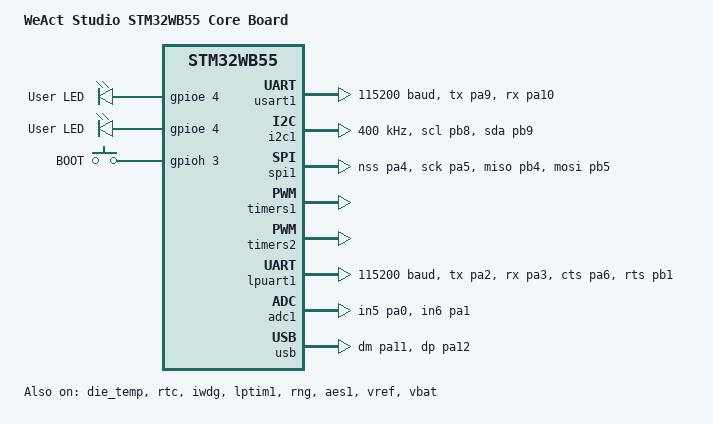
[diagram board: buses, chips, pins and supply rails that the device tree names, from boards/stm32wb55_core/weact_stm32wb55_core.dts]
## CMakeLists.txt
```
cmake_minimum_required(VERSION 3.20.0)
list(APPEND BOARD_ROOT ${CMAKE_CURRENT_SOURCE_DIR})
find_package(Zephyr REQUIRED)
project(my_zephyr_app)
add_subdirectory(drivers/custom_led)
target_sources(app PRIVATE src/main.c)
```

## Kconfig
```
menuconfig LED_SUBSYSTEM
  bool "LED Subsystem"
  default y

if LED_SUBSYSTEM

choice
  prompt "LED blink sleep time"
  default BLINK_SLEEP_1000MS

config BLINK_SLEEP_250MS
  bool "250ms (very fast)"

config BLINK_SLEEP_500MS
  bool "500ms (fast)"

config BLINK_SLEEP_1000MS
  bool "1s (medium)"

config BLINK_SLEEP_2000MS
  bool "2s (slow)"

endchoice


config BLINK_SLEEP_TIME_MS
  int # No prompt hidden
  default 250 if BLINK_SLEEP_250MS
  default 500 if BLINK_SLEEP_500MS
  default 1000 if BLINK_SLEEP_1000MS
  default 2000 if BLINK_SLEEP_2000MS
  default 0

menuconfig ADVANCED_LED_SETTINGS
  bool "Advanced LED settings"
  default y

config LED_BRIGHTNESS
  int "LED brightness (0-100)"
  range 0 100
  default 100
  depends on ADVANCED_LED_SETTINGS

config LED_FADE_DURATION_MS
  int "LED fade duration (ms)"
  range 0 5000
  default 500
  depends on ADVANCED_LED_SETTINGS

menu "Expert settings"
  visible if ADVANCED_LED_SETTINGS

config LED_DEBUG
  bool "Enable LED debugging"
  depends on ADVANCED_LED_SETTINGS

config CUSTOM_BLINK
  bool "Custom blink pattern"
  depends on ADVANCED_LED_SETTINGS

endmenu #Expert settings

endif #LED_SUBSYSTEM

config APP_HEARTBEAT_PERIOD_MS
  int "Heartbeat period (100-2000 ms)"
  default 500
  range 100 2000

source "Kconfig.zephyr"
rsource "drivers/custom_led/Kconfig"
```

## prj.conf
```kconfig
CONFIG_GPIO=y
CONFIG_LOG=y
CONFIG_SHELL=y
CONFIG_SHELL_BACKEND_SERIAL=y
```

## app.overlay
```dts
/ {
  aliases {
     sensor-led  = &green_led_2;
  };

  custom_led0: custom_led_blue {
    compatible = "custom,led_driver";
    status = "okay";
  };
  custom_led1: custom_led_green {
    compatible = "custom,led_driver";
    status = "okay";
  };

};
```

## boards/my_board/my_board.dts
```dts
/dts-v1/;
#include <st/f4/stm32f446Xe.dtsi>
#include <st/f4/stm32f446r(c-e)tx-pinctrl.dtsi>
/{
    model = "My Board";
    compatible = "iomico,my-board";
    aliases {
        led0 = &green_led_2;
    };
    chosen {
        zephyr,sram = &sram0;
        zephyr,flash = &flash0;
        zephyr,console = &usart2;
        zephyr,shell-uart = &usart2;
    };
    leds: leds {
        compatible = "gpio-leds";

        green_led_2: led_2 {
            gpios = <&gpioa 5 GPIO_ACTIVE_HIGH>;
            label = "User LD2";
        };
    };
};

&usart2 {
    pinctrl-0 = <&usart2_tx_pa2 &usart2_rx_pa3>;
    pinctrl-names = "default";
    current-speed = <115200>;
    status = "okay";
};

&clk_hse {
    hse-bypass;
    clock-frequency = <DT_FREQ_M(8)>; /* STLink 8MHz clock */
    status = "okay";
};

&pll {
    div-m = <8>;
    mul-n = <384>;
    div-p = <4>;
    div-q = <8>;
    clocks = <&clk_hse>;
    status = "okay";
};

&rcc {
    clocks = <&pll>;
    clock-frequency = <DT_FREQ_M(96)>;
    ahb-prescaler = <1>;
    apb1-prescaler = <2>;
    apb2-prescaler = <1>;
};

&flash0 {
    partitions {
        compatible = "fixed-partitions";
		#address-cells = <1>;
		#size-cells = <1>;

		boot_partition: partition@0 {
			label = "mcuboot";
			reg = <0x00000000 DT_SIZE_K(64)>;
			read-only;
		};

		/*
		 * The flash starting at 0x00010000 and ending at
		 * 0x0001ffff (sectors 16-31) is reserved for use
		 * by the application.
		 */
		storage_partition: partition@10000 {
			label = "storage";
			reg = <0x00010000 DT_SIZE_K(64)>;
		};

		slot0_partition: partition@20000 {
			label = "image-0";
			reg = <0x00020000 DT_SIZE_K(128)>;
		};

		slot1_partition: partition@40000 {
			label = "image-1";
			reg = <0x00040000 DT_SIZE_K(128)>;
		};

		scratch_partition: partition@60000 {
			label = "image-scratch";
			reg = <0x00060000 DT_SIZE_K(128)>;
		};
	};
};
```

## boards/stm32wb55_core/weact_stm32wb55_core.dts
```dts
/*
 * Copyright (c) 2025 Siratul Islam
 *
 * SPDX-License-Identifier: Apache-2.0
 */

/dts-v1/;
#include <st/wb/stm32wb55Xg.dtsi>
#include <st/wb/stm32wb55cgux-pinctrl.dtsi>
#include <zephyr/dt-bindings/input/input-event-codes.h>

/ {
	model = "WeAct Studio STM32WB55 Core Board";
	compatible = "weact,stm32wb55-core";

	chosen {
		zephyr,console = &usart1;
		zephyr,shell-uart = &usart1;
		zephyr,bt-mon-uart = &lpuart1;
		zephyr,bt-c2h-uart = &lpuart1;
		zephyr,sram = &sram0;
		zephyr,flash = &flash0;
		zephyr,code-partition = &slot0_partition;
	};

	leds: leds {
		compatible = "gpio-leds";

		blue_led: led_0 {
			gpios = <&gpioe 4 GPIO_ACTIVE_HIGH>;
			label = "User LED";
		};
		green_led_2: led_1 {
			gpios = <&gpioe 4 GPIO_ACTIVE_HIGH>;
			label = "User LED";
		};
	};

	gpio_keys {
		compatible = "gpio-keys";

		boot_button: button_0 {
			label = "BOOT";
			gpios = <&gpioh 3 (GPIO_ACTIVE_HIGH | GPIO_PULL_DOWN)>;
			zephyr,code = <INPUT_KEY_0>;
		};
	};

	aliases {
		led0 = &blue_led;
		mcuboot-led0 = &blue_led;
		sw0 = &boot_button;
		mcuboot-button0 = &boot_button;
		watchdog0 = &iwdg;
		die-temp0 = &die_temp;
		volt-sensor0 = &vref;
		volt-sensor1 = &vbat;
	};
};

&die_temp {
	status = "okay";
};

&clk_lsi1 {
	status = "okay";
};

&clk_hse {
	status = "okay";
};

&clk_lse {
	status = "okay";
};

&clk_hsi48 {
	status = "okay";
};

&clk48 {
	/* Node is disabled by default as default source is HSI48 */
	/* To select another clock, enable the node */
	clocks = <&rcc STM32_SRC_HSI48 CLK48_SEL(0)>;
};

&rcc {
	clocks = <&clk_hse>;
	clock-frequency = <DT_FREQ_M(32)>;
	cpu1-prescaler = <1>;
	cpu2-prescaler = <1>;
	ahb4-prescaler = <1>;
	apb1-prescaler = <1>;
	apb2-prescaler = <1>;
};

&usart1 {
	pinctrl-0 = <&usart1_tx_pa9 &usart1_rx_pa10>;
	pinctrl-names = "default";
	current-speed = <115200>;
	status = "okay";
};

&i2c1 {
	pinctrl-0 = <&i2c1_scl_pb8 &i2c1_sda_pb9>;
	pinctrl-names = "default";
	status = "okay";
	clock-frequency = <I2C_BITRATE_FAST>;
};

&rtc {
	clocks = <&rcc STM32_CLOCK(APB1, 10)>,
		 <&rcc STM32_SRC_LSI RTC_SEL(2)>;
	status = "okay";

	backup_regs {
		status = "okay";
	};
};

&spi1 {
	pinctrl-0 = <&spi1_nss_pa4 &spi1_sck_pa5
		     &spi1_miso_pb4 &spi1_mosi_pb5>;
	pinctrl-names = "default";
	status = "okay";
};

&timers1 {
	st,prescaler = <10000>;
	status = "okay";

	pwm1: pwm {
		status = "okay";
		pinctrl-0 = <&tim1_ch1_pa8>;
		pinctrl-names = "default";
	};
};

&timers2 {
	status = "okay";

	pwm2: pwm {
		status = "okay";
		pinctrl-0 = <&tim2_ch1_pa15>;
		pinctrl-names = "default";
	};
};

&lpuart1 {
	pinctrl-0 = <&lpuart1_tx_pa2 &lpuart1_rx_pa3
		     &lpuart1_cts_pa6 &lpuart1_rts_pb1>;
	hw-flow-control;
	pinctrl-names = "default";
	current-speed = <115200>;
	status = "okay";
};

&adc1 {
	pinctrl-0 = <&adc1_in5_pa0 &adc1_in6_pa1>;
	pinctrl-names = "default";
	st,adc-clock-source = "SYNC";
	st,adc-prescaler = <4>;
	status = "okay";
};

&iwdg {
	status = "okay";
};

stm32_lp_tick_source: &lptim1 {
	clocks = <&rcc STM32_CLOCK(APB1, 31)>,
		 <&rcc STM32_SRC_LSE LPTIM1_SEL(3)>;
	status = "okay";
};

zephyr_udc0: &usb {
	status = "okay";
	pinctrl-0 = <&usb_dm_pa11 &usb_dp_pa12>;
	pinctrl-names = "default";
};

&rng {
	status = "okay";
};

&aes1 {
	status = "okay";
};

&flash0 {
	partitions {
		compatible = "fixed-partitions";
		#address-cells = <1>;
		#size-cells = <1>;

		/*
		 * STM32WB55CGU6 Flash Layout (1MB total)
		 *
		 * 0x08000000 - 0x080D9FFF : M4 Application Space (872KB)
		 * 0x080DA000 - 0x080DAFFF : Reserved Gap (4KB)
		 * 0x080DB000 - 0x080FFFFF : M0+ Wireless Stack (148KB)
		 *
		 * Current M0+ Wireless Stack: BLE_HCILayer_extended @ 0x080DB000 V1.23.0
		 *
		 * Wireless Stack Options (STM32WB5xxG 1M):
		 * - BLE_HCILayer_extended: 0x080DB000
		 * - BLE_HCILayer: 0x080E1000
		 * - BLE_HCI_AdvScan: 0x080EB000
		 * - FUS v2.1.0: 0x080EE000
		 *
		 * Reference:
		 * https://github.com/STMicroelectronics/STM32CubeWB/blob/master/Projects/STM32WB_Copro_Wireless_Binaries/STM32WB5x/Release_Notes.html
		 */

		boot_partition: partition@0 {
			label = "mcuboot";
			reg = <0x00000000 DT_SIZE_K(48)>;
		};

		slot0_partition: partition@c000 {
			label = "image-0";
			reg = <0x0000c000 DT_SIZE_K(400)>;
		};

		slot1_partition: partition@70000 {
			label = "image-1";
			reg = <0x00070000 DT_SIZE_K(400)>;
		};

		scratch_partition: partition@d4000 {
			label = "image-scratch";
			reg = <0x000d4000 DT_SIZE_K(16)>;
		};

		storage_partition: partition@d8000 {
			label = "storage";
			reg = <0x000d8000 DT_SIZE_K(8)>;
		};
	};
};

&vref {
	status = "okay";
};

&vbat {
	status = "okay";
};
```

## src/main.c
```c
#include "../drivers/custom_led/custom_led_driver.h"
#include <zephyr/drivers/sensor.h>
#include <zephyr/kernel.h>
#include <zephyr/logging/log.h>

static const struct device *custom_led =
    DEVICE_DT_GET(DT_NODELABEL(custom_led0));
LOG_MODULE_REGISTER(main, LOG_LEVEL_INF);

int custom_led_channel_get() {
  struct sensor_value val;
  int error_code =
      sensor_channel_get(custom_led, SENSOR_CHAN_AMBIENT_TEMP, &val);
  LOG_INF("Get Channel. Error Code: %d", error_code);
  return 0;
}

int custom_led_sample_fetch() {
  int error_code = sensor_sample_fetch(custom_led);
  LOG_INF("Sample Fetch. Error Code: %d", error_code);
  return 0;
}

int main(void) {
  if (!device_is_ready(custom_led))
    return 0;

  custom_led_set_blink_counter(custom_led, 10);

  while (1) {
    /*
     * blink now controlled by shell
    custom_led_channel_get();
    k_msleep(CONFIG_APP_HEARTBEAT_PERIOD_MS);
    custom_led_sample_fetch();
    k_msleep(CONFIG_APP_HEARTBEAT_PERIOD_MS);
    */
    k_msleep(CONFIG_APP_HEARTBEAT_PERIOD_MS);
  }
  return 0;
}
```

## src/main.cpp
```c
#include <zephyr/drivers/sensor.h>
#include <zephyr/kernel.h>
#include <zephyr/logging/log.h>

static const struct device *custom_led =
    DEVICE_DT_GET(DT_NODELABEL(custom_led0));
LOG_MODULE_REGISTER(main, LOG_LEVEL_INF);

int custom_led_channel_get() {
  struct sensor_value val;
  int error_code =
      sensor_channel_get(custom_led, SENSOR_CHAN_AMBIENT_TEMP, &val);
  LOG_INF("Get Channel. Error Code: %d", error_code);
  return 0;
}

int custom_led_sample_fetch() {
  int error_code = sensor_sample_fetch(custom_led);
  LOG_INF("Sample Fetch. Error Code: %d", error_code);
  return 0;
}

int main(void) {
  if (!device_is_ready(custom_led))
    return 0;
  while (1) {
    custom_led_channel_get();
    k_msleep(CONFIG_APP_HEARTBEAT_PERIOD_MS);
    custom_led_sample_fetch();
    k_msleep(CONFIG_APP_HEARTBEAT_PERIOD_MS);
  }
  return 0;
}
```
